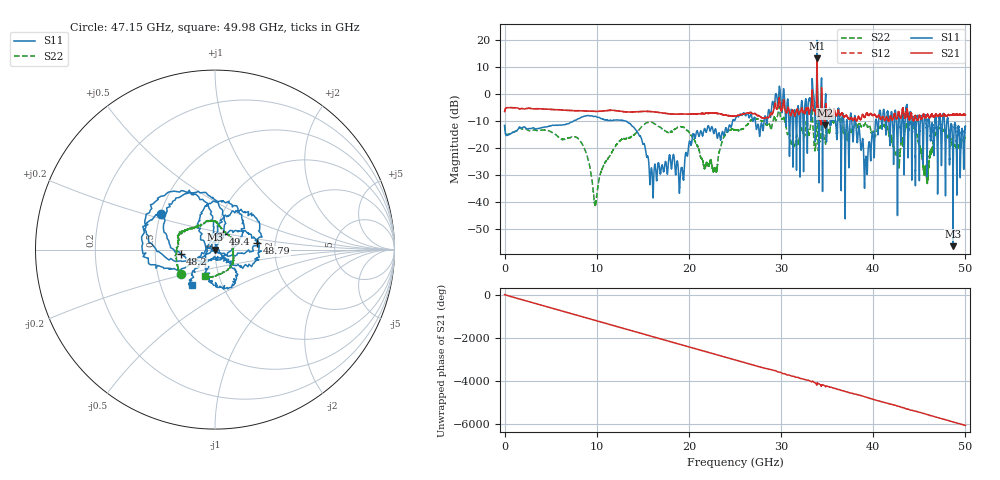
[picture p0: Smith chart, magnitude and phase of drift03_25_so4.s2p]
!Created with skrf (http://scikit-rf.org).
# Hz S RI R 50.0
!freq ReS11 ImS11 ReS21 ImS21 ReS12 ImS12 ReS22 ImS22
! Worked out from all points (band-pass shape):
!   10001 points, 300 kHz to 50 GHz, reference 50 ohm
!   highest |S21| = 13.19 dB at 33.9 GHz (marker M1); lowest = -11.6 dB at 34.79 GHz (marker M2)
!   |S21| within 3 dB of the highest: 33.89006 GHz to 33.90546 GHz (15.41 MHz wide, 0.0455 % of centre)
!   lowest |S11| = -56.4 dB at 48.67 GHz (marker M3), VSWR 1.00, Z = 50.1 - j0.0589 ohm
!   |S11| at or under -10 dB: start of sweep to 7.487 GHz; 13.13 GHz to 24.74 GHz (11.61 GHz wide, 61.3 % of centre); 38.09 GHz to 40.26 GHz (2.168 GHz wide, 5.53 % of centre) (the widest 3 of 48)
!   |S22| runs from -41.4 to 5.6 dB; largest |S21 - S12| = 0.34
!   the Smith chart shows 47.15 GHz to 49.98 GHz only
!   S11 on the Smith chart (normalised r, x): 47.15 GHz: 0.50, +0.23; 48.2 GHz: 0.68, -0.04; 48.79 GHz: 1.60, +0.12; 49.4 GHz: 1.08, +0.19; 49.98 GHz: 0.72, -0.30
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300000  -0.2346 -0.1159  0.4663 0.0762  0.4651 0.0762  -0.2364 -0.1215
1.440291e9  0.2097 0.0647  -0.548 -0.0291  -0.5482 -0.0291  0.2112 -0.00442
2.915283e9  -0.212 -0.088  0.5343 0.0512  0.5346 0.0514  -0.2024 0.04
4.415274e9  0.2062 0.1323  -0.5218 -0.0422  -0.5219 -0.0418  0.1976 -0.0873
8.33525e9  0.2887 -0.2334  0.1463 0.4662  0.1462 0.4662  -0.0732 -0.1009
9.845241e9  -0.3636 0.1292  -0.148 -0.4524  -0.1487 -0.4521  0.00874 0.00233
1.66702e10  0.0271 0.044  -0.3778 0.2541  -0.3787 0.2538  -0.1268 -0.2193
2.500015e10  -0.3264 -0.0141  -0.2549 -0.2958  -0.2543 -0.2984  -0.2129 0.0268
2.895513e10  -0.3234 0.4317  -0.2889 0.326  -0.2986 0.2903  0.0642 0.2198
3.006512e10  0.3994 0.2632  0.4496 -0.1978  0.4532 -0.1843  0.1743 -0.2977
3.171011e10  -0.0909 0.1862  -0.3619 0.3575  -0.361 0.3562  0.0653 0.1579
3.33351e10  0.6065 -0.8376  0.2366 -0.8444  0.2379 -0.8251  -0.1977 -0.4143
3.38951e10  -2.561 -9.496  -4.486 0.8426  -4.202 1.019  0.518 1.833
3.478509e10  -0.711 0.1338  -0.0153 0.2637  -0.00347 0.323  0.106 -0.1374
4.167005e10  -0.1955 0.302  0.3138 0.00554  0.3124 0.0108  -0.1922 -0.013
4.714502e10  -0.2984 0.1991  0.2439 0.3214  0.2402 0.3225  -0.1907 -0.1351
4.819501e10  -0.1912 -0.0254  0.1472 -0.3848  0.1493 -0.3875  -0.0281 0.16
4.866501e10  0.00139 -0.000587  -0.2558 -0.3331  -0.2574 -0.3361  0.0801 0.0785
4.879001e10  0.2333 0.0365  -0.338 -0.2386  -0.3349 -0.2397  0.0996 0.0584
4.9395e10  0.0453 0.0884  -0.3379 0.2417  -0.3415 0.24  0.1028 -0.0645
4.998e10  -0.1267 -0.198  0.1226 0.3929  0.1198 0.3926  -0.0536 -0.1484
5e10  -0.1197 -0.2169  0.1448 0.3838  0.1435 0.3848  -0.0567 -0.1449
